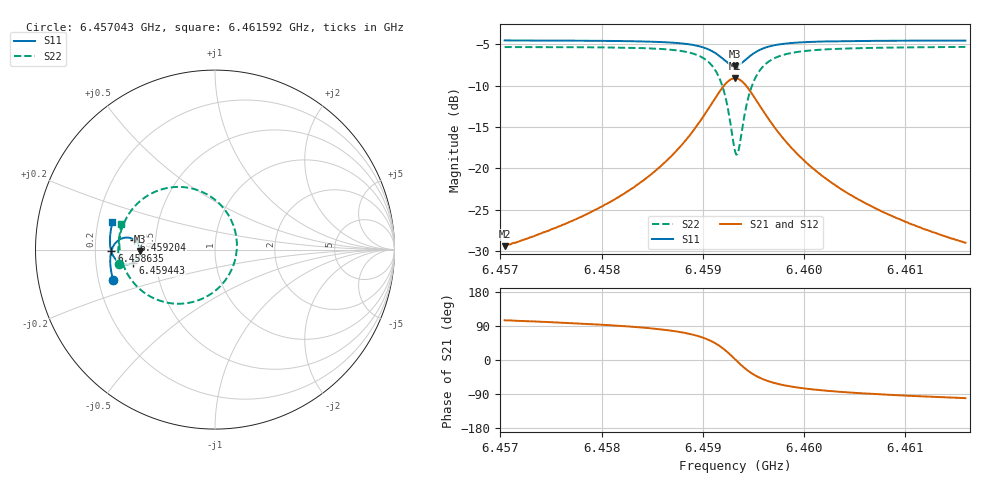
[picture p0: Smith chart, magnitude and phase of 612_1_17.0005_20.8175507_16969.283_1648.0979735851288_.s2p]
#  HZ  S  RI  R  50.00
! Rohde & Schwarz Vector Network Analyzer
! Rohde-Schwarz,ZNB20-2Port,1311601062101988,3.16
! Created: UTC 3/20/2024, 11:19:28 PM
! freq[Hz]  re:S11  im:S11  re:S21  im:S21  re:S12  im:S12  re:S22  im:S22
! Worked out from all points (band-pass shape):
!   401 points, 6.457043 GHz to 6.461592 GHz, reference 50 ohm
!   highest |S21| = -9.11 dB at 6.459318 GHz (marker M1); lowest = -29.4 dB at 6.457043 GHz (marker M2)
!   |S21| within 3 dB of the highest: 6.459091 GHz to 6.459545 GHz (454.4 kHz wide, 0.00704 % of centre)
!   lowest |S11| = -7.6 dB at 6.459318 GHz (marker M3), VSWR 2.42, Z = 20.6 - j0.394 ohm
!   |S11| at or under -10 dB: nowhere
!   |S22| runs from -18.3 to -5.3 dB; largest |S21 - S12| = 0.014
!   S11 on the Smith chart (normalised r, x): 6.457043 GHz: 0.26, -0.13; 6.458635 GHz: 0.27, -0.01; 6.459204 GHz: 0.38, +0.05; 6.459443 GHz: 0.37, -0.07; 6.461592 GHz: 0.26, +0.12
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6.4570433e9  -0.5681 -0.1672  -0.00873 0.0328  -0.00693 0.0329  -0.5344 -0.0787
6.4578051e9  -0.5815 -0.1003  -0.00523 0.0509  -0.00266 0.0505  -0.5387 0.0114
6.4582145e9  -0.584 -0.0591  0.000547 0.0701  0.00392 0.0687  -0.5303 0.0768
6.458567e9  -0.5798 -0.0167  0.0151 0.0999  0.0191 0.097  -0.5034 0.1569
6.4586353e9  -0.5775 -0.00723  0.0205 0.1083  0.0247 0.1051  -0.4931 0.177
6.4588286e9  -0.5646 0.0232  0.0475 0.1395  0.0517 0.1344  -0.4425 0.2463
6.4589764e9  -0.5416 0.0494  0.0933 0.1702  0.0967 0.1632  -0.3574 0.3111
6.4591129e9  -0.4971 0.0668  0.1817 0.1865  0.1826 0.179  -0.1958 0.3492
6.4592038e9  -0.4521 0.0562  0.2727 0.1546  0.2729 0.1488  -0.0271 0.2974
6.4592721e9  -0.4227 0.0236  0.3339 0.0816  0.3361 0.0763  0.0897 0.1652
6.4593176e9  -0.4158 -0.00789  0.3502 0.0127  0.354 0.0056  0.122 0.036
6.4593517e9  -0.4199 -0.0319  0.3442 -0.0407  0.3482 -0.0499  0.1098 -0.0653
6.4593972e9  -0.4357 -0.0584  0.3149 -0.1014  0.3172 -0.1135  0.0504 -0.1801
6.4594426e9  -0.4582 -0.0749  0.2719 -0.1428  0.2713 -0.1564  -0.0366 -0.2559
6.4595336e9  -0.5021 -0.0818  0.1857 -0.1739  0.1794 -0.1859  -0.2089 -0.3017
6.4596018e9  -0.5267 -0.0744  0.1367 -0.1718  0.1285 -0.1808  -0.3038 -0.2856
6.4596814e9  -0.5465 -0.0612  0.0967 -0.1594  0.0879 -0.1657  -0.379 -0.2502
6.4598406e9  -0.5682 -0.0334  0.0513 -0.1308  0.0435 -0.1335  -0.4601 -0.1767
6.4600794e9  -0.5809 0.00218  0.0219 -0.0985  0.0161 -0.0992  -0.5079 -0.093
6.460432e9  -0.5854 0.0444  0.00563 -0.0707  0.00147 -0.0702  -0.5295 -0.0109
6.4608413e9  -0.5834 0.0856  -0.00166 -0.0525  -0.00447 -0.0517  -0.5332 0.0553
6.4615919e9  -0.5712 0.1522  -0.00658 -0.035  -0.00829 -0.034  -0.5216 0.1448
